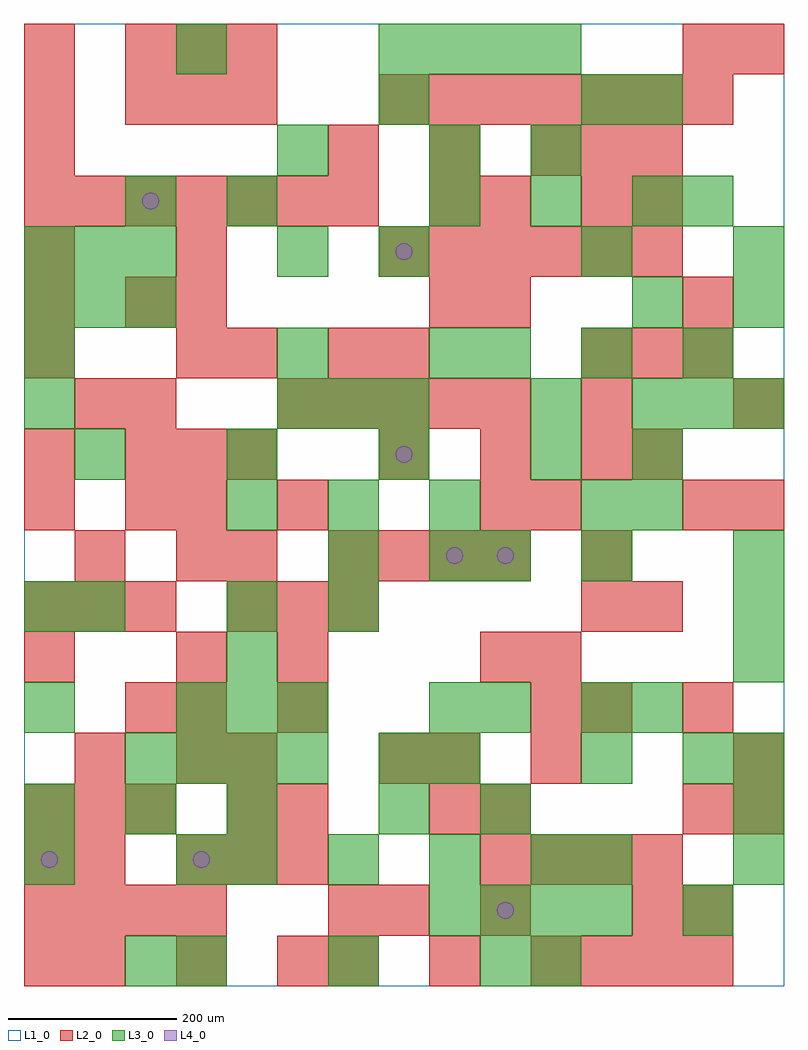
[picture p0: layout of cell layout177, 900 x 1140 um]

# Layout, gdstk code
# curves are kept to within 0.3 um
import gdstk
lib = gdstk.Library(unit=1e-6, precision=1e-09)
def R(c, l, rs):  # rectangles x0, y0, x1, y1
    for r in rs: c.add(gdstk.rectangle(r[:2], r[2:], *l))
def A(c, l, x, y, w, h, nx, ny, dx, dy):  # array of equal rectangles
    R(c, l, [(x+i*dx, y+j*dy, x+i*dx+w, y+j*dy+h) for i in range(nx) for j in range(ny)])
def P(c, l, *ps):  # polygons
    for p in ps: c.add(gdstk.Polygon(p, *l))
L1_0 = (1, 0)
L2_0 = (2, 0)
L3_0 = (3, 0)
L4_0 = (4, 0)

layout177 = lib.new_cell('layout177')
R(layout177, L1_0, [(0,0,900,1140)])
A(layout177, L2_0, 60, 0, 60, 60, 3, 1, 120, 0)
A(layout177, L2_0, 360, 0, 60, 60, 3, 2, 120, 960)
A(layout177, L2_0, 660, 0, 60, 60, 3, 2, 60, 720)
A(layout177, L2_0, 0, 60, 60, 60, 4, 1, 60, 0)
A(layout177, L2_0, 780, 60, 60, 60, 1, 3, 0, 120)
A(layout177, L2_0, 180, 120, 60, 60, 3, 1, 60, 0)
A(layout177, L2_0, 540, 120, 60, 60, 4, 1, 60, 0)
A(layout177, L2_0, 0, 180, 60, 60, 3, 2, 60, 240)
A(layout177, L2_0, 540, 180, 60, 60, 1, 3, 0, 180)
A(layout177, L2_0, 180, 240, 60, 60, 1, 3, 0, 60)
A(layout177, L2_0, 240, 240, 60, 60, 1, 3, 0, 240)
A(layout177, L2_0, 600, 240, 60, 60, 1, 3, 0, 60)
A(layout177, L2_0, 240, 420, 60, 60, 3, 1, 60, 0)
A(layout177, L2_0, 360, 480, 60, 60, 4, 1, 60, 0)
A(layout177, L2_0, 120, 540, 60, 60, 1, 3, 0, 120)
A(layout177, L2_0, 120, 600, 60, 60, 3, 2, 60, 420)
A(layout177, L2_0, 420, 600, 60, 60, 3, 1, 120, 0)
A(layout177, L2_0, 300, 660, 60, 60, 5, 1, 60, 0)
A(layout177, L2_0, 0, 720, 60, 60, 1, 3, 0, 60)
A(layout177, L2_0, 180, 720, 60, 60, 1, 3, 0, 60)
A(layout177, L2_0, 420, 840, 60, 60, 6, 1, 60, 0)
A(layout177, L2_0, 0, 900, 60, 60, 7, 1, 60, 0)
A(layout177, L2_0, 0, 960, 60, 60, 1, 3, 0, 60)
A(layout177, L2_0, 420, 1020, 60, 60, 7, 1, 60, 0)
A(layout177, L2_0, 120, 1080, 60, 60, 3, 1, 60, 0)
R(layout177, L2_0, [(0,0,60,60), (360,60,420,120), (420,60,480,120), (540,60,600,120), (720,60,780,120), (0,120,60,180), (60,120,120,180), (240,180,300,240), (300,180,360,240), (480,180,540,240), (840,180,900,240), (60,240,120,300), (420,240,480,300), (480,240,540,300), (840,240,900,300), (120,300,180,360), (300,300,360,360), (660,300,720,360), (0,360,60,420), (300,360,360,420), (660,420,720,480), (720,420,780,480), (60,480,120,540), (180,480,240,540), (660,480,720,540), (0,540,60,600), (180,540,240,600), (300,540,360,600), (600,540,660,600), (780,540,840,600), (840,540,900,600), (0,600,60,660), (720,600,780,660), (60,660,120,720), (660,660,720,720), (840,660,900,720), (360,720,420,780), (420,720,480,780), (480,780,540,840), (540,780,600,840), (780,780,840,840), (480,900,540,960), (540,900,600,960), (660,900,720,960), (720,900,780,960), (660,960,720,1020), (720,960,780,1020), (780,1080,840,1140), (840,1080,900,1140)])
A(layout177, L3_0, 180, 0, 60, 60, 3, 1, 180, 0)
A(layout177, L3_0, 480, 60, 60, 60, 4, 1, 60, 0)
A(layout177, L3_0, 240, 120, 60, 60, 4, 1, 120, 0)
A(layout177, L3_0, 840, 120, 60, 60, 1, 3, 0, 60)
A(layout177, L3_0, 0, 180, 60, 60, 3, 1, 120, 0)
A(layout177, L3_0, 120, 240, 60, 60, 4, 1, 60, 0)
A(layout177, L3_0, 180, 300, 60, 60, 3, 1, 60, 0)
A(layout177, L3_0, 840, 360, 60, 60, 1, 3, 0, 60)
A(layout177, L3_0, 480, 480, 60, 60, 1, 3, 0, 240)
A(layout177, L3_0, 240, 540, 60, 60, 3, 1, 120, 0)
A(layout177, L3_0, 60, 600, 60, 60, 4, 1, 180, 0)
A(layout177, L3_0, 300, 660, 60, 60, 3, 1, 60, 0)
A(layout177, L3_0, 720, 660, 60, 60, 3, 1, 60, 0)
A(layout177, L3_0, 300, 720, 60, 60, 1, 3, 0, 120)
A(layout177, L3_0, 540, 720, 60, 60, 3, 1, 120, 0)
A(layout177, L3_0, 0, 780, 60, 60, 3, 2, 60, 60)
A(layout177, L3_0, 480, 900, 60, 60, 3, 1, 120, 0)
A(layout177, L3_0, 420, 1080, 60, 60, 4, 1, 60, 0)
R(layout177, L3_0, [(120,0,180,60), (600,0,660,60), (780,60,840,120), (0,120,60,180), (180,120,240,180), (660,120,720,180), (420,180,480,240), (540,180,600,240), (420,240,480,300), (480,240,540,300), (660,240,720,300), (780,240,840,300), (0,300,60,360), (480,300,540,360), (540,300,600,360), (660,300,720,360), (720,300,780,360), (240,360,300,420), (0,420,60,480), (60,420,120,480), (240,420,300,480), (360,420,420,480), (360,480,420,540), (540,480,600,540), (660,480,720,540), (660,540,720,600), (720,540,780,600), (720,600,780,660), (0,660,60,720), (600,660,660,720), (0,720,60,780), (720,780,780,840), (840,780,900,840), (420,840,480,900), (660,840,720,900), (840,840,900,900), (120,900,180,960), (240,900,300,960), (780,900,840,960), (600,960,660,1020), (420,1020,480,1080), (660,1020,720,1080), (720,1020,780,1080), (180,1080,240,1140)])
P(layout177, L4_0, [(40,150),(39.239,153.827),(37.071,157.071),(33.827,159.239),(30,160),(26.173,159.239),(22.929,157.071),(20.761,153.827),(20,150),(20.761,146.173),(22.929,142.929),(26.173,140.761),(30,140),(33.827,140.761),(37.071,142.929),(39.239,146.173)],
  [(160,930),(159.239,933.827),(157.071,937.071),(153.827,939.239),(150,940),(146.173,939.239),(142.929,937.071),(140.761,933.827),(140,930),(140.761,926.173),(142.929,922.929),(146.173,920.761),(150,920),(153.827,920.761),(157.071,922.929),(159.239,926.173)],
  [(220,150),(219.239,153.827),(217.071,157.071),(213.827,159.239),(210,160),(206.173,159.239),(202.929,157.071),(200.761,153.827),(200,150),(200.761,146.173),(202.929,142.929),(206.173,140.761),(210,140),(213.827,140.761),(217.071,142.929),(219.239,146.173)],
  [(460,630),(459.239,633.827),(457.071,637.071),(453.827,639.239),(450,640),(446.173,639.239),(442.929,637.071),(440.761,633.827),(440,630),(440.761,626.173),(442.929,622.929),(446.173,620.761),(450,620),(453.827,620.761),(457.071,622.929),(459.239,626.173)],
  [(460,870),(459.239,873.827),(457.071,877.071),(453.827,879.239),(450,880),(446.173,879.239),(442.929,877.071),(440.761,873.827),(440,870),(440.761,866.173),(442.929,862.929),(446.173,860.761),(450,860),(453.827,860.761),(457.071,862.929),(459.239,866.173)],
  [(520,510),(519.239,513.827),(517.071,517.071),(513.827,519.239),(510,520),(506.173,519.239),(502.929,517.071),(500.761,513.827),(500,510),(500.761,506.173),(502.929,502.929),(506.173,500.761),(510,500),(513.827,500.761),(517.071,502.929),(519.239,506.173)],
  [(580,90),(579.239,93.827),(577.071,97.071),(573.827,99.239),(570,100),(566.173,99.239),(562.929,97.071),(560.761,93.827),(560,90),(560.761,86.173),(562.929,82.929),(566.173,80.761),(570,80),(573.827,80.761),(577.071,82.929),(579.239,86.173)],
  [(580,510),(579.239,513.827),(577.071,517.071),(573.827,519.239),(570,520),(566.173,519.239),(562.929,517.071),(560.761,513.827),(560,510),(560.761,506.173),(562.929,502.929),(566.173,500.761),(570,500),(573.827,500.761),(577.071,502.929),(579.239,506.173)])

lib.write_gds('layout177.gds')
